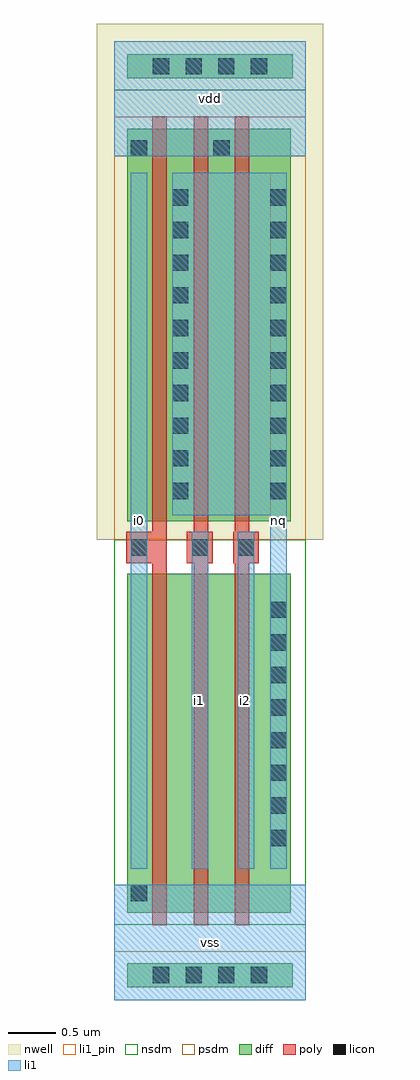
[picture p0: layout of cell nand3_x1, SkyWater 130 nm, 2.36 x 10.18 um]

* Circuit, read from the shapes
.subckt nand3_x1 i0 i1 i2 nq vdd vss
XM1 n1 i0 vss VSUBS sky130_fd_pr__nfet_01v8 w=3.535 l=0.15
XM2 n2 i1 n1 VSUBS sky130_fd_pr__nfet_01v8 w=3.535 l=0.15
XM3 nq i2 n2 VSUBS sky130_fd_pr__nfet_01v8 w=3.535 l=0.15
XM4 nq i0 vdd n3 sky130_fd_pr__pfet_01v8 w=4.095 l=0.15
XM5 vdd i1 nq n3 sky130_fd_pr__pfet_01v8 w=4.095 l=0.15
XM6 nq i2 vdd n3 sky130_fd_pr__pfet_01v8 w=4.095 l=0.15
.ends

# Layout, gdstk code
import gdstk
lib = gdstk.Library(unit=1e-6, precision=1e-09)
def R(c, l, rs):  # rectangles x0, y0, x1, y1
    for r in rs: c.add(gdstk.rectangle(r[:2], r[2:], *l))
def A(c, l, x, y, w, h, nx, ny, dx, dy):  # array of equal rectangles
    R(c, l, [(x+i*dx, y+j*dy, x+i*dx+w, y+j*dy+h) for i in range(nx) for j in range(ny)])
def P(c, l, *ps):  # polygons
    for p in ps: c.add(gdstk.Polygon(p, *l))
nwell = (64, 20)
diff = (65, 20)
poly = (66, 20)
licon = (66, 44)
li1_pin = (67, 16)
li1 = (67, 20)
nsdm = (93, 44)
psdm = (94, 20)

nand3_x1 = lib.new_cell('nand3_x1')
R(nand3_x1, nwell, [(-0.18,4.8,2.18,10.18)])
R(nand3_x1, diff, [(0.135,0.135,1.865,0.385), (0.135,0.91,1.84,4.445), (0.135,4.995,1.84,9.09), (0.135,9.615,1.865,9.865)])
P(nand3_x1, poly, [(0.4,0.78),(0.4,4.555),(0.125,4.555),(0.125,4.885),(0.4,4.885),(0.4,9.22),(0.55,9.22),(0.55,0.78)],
  [(0.83,0.78),(0.83,4.555),(0.76,4.555),(0.76,4.885),(0.83,4.885),(0.83,9.22),(0.98,9.22),(0.98,4.885),(1.03,4.885),(1.03,4.555),(0.98,4.555),(0.98,0.78)],
  [(1.26,0.78),(1.26,4.555),(1.24,4.555),(1.24,4.885),(1.26,4.885),(1.26,9.22),(1.41,9.22),(1.41,4.885),(1.51,4.885),(1.51,4.555),(1.41,4.555),(1.41,0.78)])
A(nand3_x1, licon, 0.405, 0.175, 0.17, 0.17, 4, 2, 0.34, 9.48)
A(nand3_x1, licon, 1.63, 1.605, 0.17, 0.17, 1, 8, 0, 0.34)
A(nand3_x1, licon, 0.605, 5.225, 0.17, 0.17, 1, 10, 0, 0.34)
A(nand3_x1, licon, 1.63, 5.225, 0.17, 0.17, 1, 10, 0, 0.34)
R(nand3_x1, licon, [(0.175,1.03,0.345,1.2), (0.175,4.635,0.345,4.805), (0.81,4.635,0.98,4.805), (1.29,4.635,1.46,4.805), (0.175,8.8,0.345,8.97), (1.035,8.8,1.205,8.97)])
R(nand3_x1, li1_pin, [(0,0,2,1.2), (0.175,1.37,0.345,8.63), (0.81,1.37,0.98,4.885), (1.29,1.37,1.46,4.885), (1.63,1.37,1.8,8.63), (0,8.8,2,10)])
R(nand3_x1, li1, [(0,0,2,1.2), (0.175,1.37,0.345,8.63), (0.81,1.37,0.98,4.885), (1.29,1.37,1.46,4.885), (0,8.8,2,10)])
P(nand3_x1, li1, [(1.63,1.37),(1.63,5.055),(0.605,5.055),(0.605,8.63),(1.8,8.63),(1.8,1.37)])
R(nand3_x1, nsdm, [(0,0.785,2,4.8), (0,9.49,2,10)])
R(nand3_x1, psdm, [(0,0,2,0.51), (0,4.8,2,9.215)])
nand3_x1.add(gdstk.Label('vss', (1,0.6), layer=67, texttype=16))
nand3_x1.add(gdstk.Label('vdd', (1,9.4), layer=67, texttype=16))
nand3_x1.add(gdstk.Label('i0', (0.26,5), layer=67, texttype=16))
nand3_x1.add(gdstk.Label('nq', (1.715,5), layer=67, texttype=16))
nand3_x1.add(gdstk.Label('i1', (0.895,3.128), layer=67, texttype=16))
nand3_x1.add(gdstk.Label('i2', (1.375,3.128), layer=67, texttype=16))

lib.write_gds('nand3_x1.gds')
